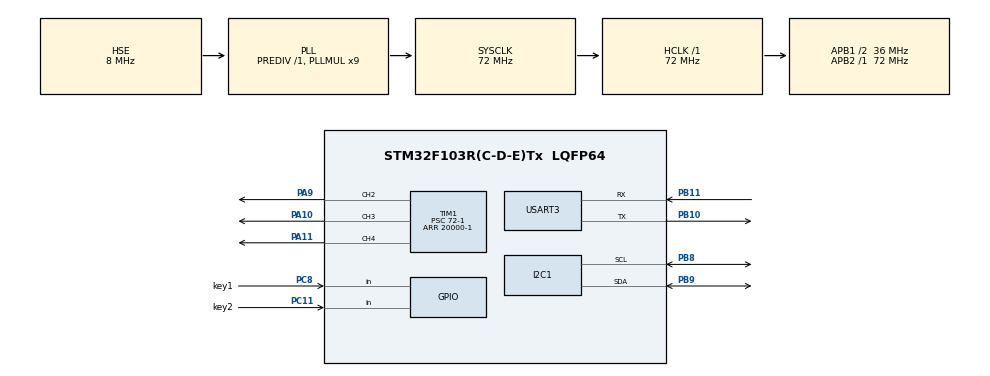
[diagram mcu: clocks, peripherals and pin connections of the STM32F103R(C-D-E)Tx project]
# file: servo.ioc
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Dma.Request0=USART3_RX
Dma.Request1=USART3_TX
Dma.USART3_RX.0.Direction=DMA_PERIPH_TO_MEMORY
Dma.USART3_RX.0.Instance=DMA1_Channel3
Dma.USART3_RX.0.MemDataAlignment=DMA_MDATAALIGN_BYTE
Dma.USART3_RX.0.MemInc=DMA_MINC_ENABLE
Dma.USART3_RX.0.Mode=DMA_NORMAL
Dma.USART3_RX.0.PeriphDataAlignment=DMA_PDATAALIGN_BYTE
Dma.USART3_RX.0.PeriphInc=DMA_PINC_DISABLE
Dma.USART3_RX.0.Priority=DMA_PRIORITY_LOW
Dma.USART3_TX.1.Direction=DMA_MEMORY_TO_PERIPH
Dma.USART3_TX.1.Instance=DMA1_Channel2
Dma.USART3_TX.1.MemDataAlignment=DMA_MDATAALIGN_BYTE
Dma.USART3_TX.1.MemInc=DMA_MINC_ENABLE
Dma.USART3_TX.1.Mode=DMA_NORMAL
Dma.USART3_TX.1.PeriphDataAlignment=DMA_PDATAALIGN_BYTE
Dma.USART3_TX.1.PeriphInc=DMA_PINC_DISABLE
Dma.USART3_TX.1.Priority=DMA_PRIORITY_LOW
I2C1.I2C_Mode=I2C_Fast
Mcu.Family=STM32F1
Mcu.Name=STM32F103R(C-D-E)Tx
Mcu.Package=LQFP64
NVIC.DMA1_Channel2_IRQn=true\:0\:0\:false\:false\:true\:false\:true\:true
NVIC.DMA1_Channel3_IRQn=true\:0\:0\:false\:false\:true\:false\:true\:true
NVIC.PriorityGroup=NVIC_PRIORITYGROUP_4
NVIC.USART3_IRQn=true\:0\:0\:false\:false\:true\:true\:true\:true
PA10.Signal=S_TIM1_CH3
PA11.Signal=S_TIM1_CH4
PA13.Mode=Serial_Wire
PA13.Signal=SYS_JTMS-SWDIO
PA14.Mode=Serial_Wire
PA14.Signal=SYS_JTCK-SWCLK
PA9.Signal=S_TIM1_CH2
PB10.Mode=Asynchronous
PB10.Signal=USART3_TX
PB11.Mode=Asynchronous
PB11.Signal=USART3_RX
PB8.Mode=I2C
PB8.Signal=I2C1_SCL
PB9.Mode=I2C
PB9.Signal=I2C1_SDA
PC11.GPIO_Label=key2
PC11.GPIO_PuPd=GPIO_PULLUP
PC11.Signal=GPIO_Input
PC8.GPIO_Label=key1
PC8.GPIO_PuPd=GPIO_PULLUP
PC8.Signal=GPIO_Input
PD0-OSC_IN.Mode=HSE-External-Oscillator
PD0-OSC_IN.Signal=RCC_OSC_IN
PD1-OSC_OUT.Mode=HSE-External-Oscillator
PD1-OSC_OUT.Signal=RCC_OSC_OUT
ProjectManager.HeapSize=0x200
ProjectManager.StackSize=0x400
ProjectManager.TargetToolchain=MDK-ARM V5.32
RCC.AHBFreq_Value=72000000
RCC.APB1CLKDivider=RCC_HCLK_DIV2
RCC.APB1Freq_Value=36000000
RCC.APB1TimFreq_Value=72000000
RCC.APB2Freq_Value=72000000
RCC.APB2TimFreq_Value=72000000
RCC.HCLKFreq_Value=72000000
RCC.PLLMUL=RCC_PLL_MUL9
RCC.PLLSourceVirtual=RCC_PLLSOURCE_HSE
RCC.SYSCLKFreq_VALUE=72000000
RCC.SYSCLKSource=RCC_SYSCLKSOURCE_PLLCLK
RCC.USBFreq_Value=72000000
SH.S_TIM1_CH2.0=TIM1_CH2,PWM Generation2 CH2
SH.S_TIM1_CH3.0=TIM1_CH3,PWM Generation3 CH3
SH.S_TIM1_CH4.0=TIM1_CH4,PWM Generation4 CH4
TIM1.Channel-PWM\ Generation2\ CH2=TIM_CHANNEL_2
TIM1.Channel-PWM\ Generation3\ CH3=TIM_CHANNEL_3
TIM1.Channel-PWM\ Generation4\ CH4=TIM_CHANNEL_4
TIM1.Period=20000-1
TIM1.Prescaler=72-1
TIM1.Pulse-PWM\ Generation2\ CH2=1400
TIM1.Pulse-PWM\ Generation3\ CH3=1500
TIM1.Pulse-PWM\ Generation4\ CH4=1500
USART3.VirtualMode=VM_ASYNC
VP_TIM1_VS_ClockSourceINT.Mode=Internal
board=custom

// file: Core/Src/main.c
/* USER CODE BEGIN Header */
/**
  ******************************************************************************
  * @file           : main.c
  * @brief          : Main program body
  ******************************************************************************
  * @attention
  *
  * Copyright (c) 2025 STMicroelectronics.
  * All rights reserved.
  *
  * This software is licensed under terms that can be found in the LICENSE file
  * in the root directory of this software component.
  * If no LICENSE file comes with this software, it is provided AS-IS.
  *
  ******************************************************************************
  */
/* USER CODE END Header */
#include "main.h"
#include "dma.h"
#include "i2c.h"
#include "tim.h"
#include "usart.h"
#include "gpio.h"

/* USER CODE BEGIN Includes */
#include "pid.h"
#include"usart recieve.h"
#include <stdbool.h>
#include "oled.h"
extern DMA_HandleTypeDef hdma_usart3_rx;
extern float Kp,Ki,Kd;
extern float out1,out2;
/* USER CODE END Includes */

/* USER CODE BEGIN PV */
char data[30];
char check[30];
int position[4];
bool flag_key1=true;
bool flag_key2=true;
int count_key2;
//float dt;
/* USER CODE END PV */

void SystemClock_Config(void);

/* USER CODE BEGIN 0 */

void HAL_UARTEx_RxEventCallback(UART_HandleTypeDef *huart, uint16_t Size){

	if(huart==&huart3)
	{ //  HAL_UART_Transmit(&huart3, (uint8_t*)data, Size,10);

	 Parse_Int_Packet(data, position);
//	  static char buffer[28];
//
//		     /* 安全格式化（限制缓冲区访问） */
//		   int len= snprintf(buffer, sizeof(buffer), "%d,%d,%.1f,%.1f\r\n", position[0]-320, position[1]-240,out1,out2);
//

		  //      HAL_UART_Transmit_DMA(&huart2, (uint8_t*)buffer, len);
		      //  HAL_UART_Transmit(&huart3, (uint8_t*)buffer, len,49);

	 pid_position_control( position[0]-304, position[1]-282,position[2],position[3]);//先发的是x后发的是y
            //  sendoutput();
		HAL_UARTEx_ReceiveToIdle_DMA(&huart3, data, sizeof(data));
		__HAL_DMA_DISABLE_IT(&hdma_usart3_rx,DMA_IT_HT);

	}

}

/* USER CODE END 0 */

int main(void)
{

  /* MCU Configuration--------------------------------------------------------*/

  /* Reset of all peripherals, Initializes the Flash interface and the Systick. */
  HAL_Init();

  /* Configure the system clock */
  SystemClock_Config();

  /* Initialize all configured peripherals */
  MX_GPIO_Init();
  MX_DMA_Init();
  MX_I2C1_Init();
  MX_TIM1_Init();
  MX_USART3_UART_Init();
  /* USER CODE BEGIN 2 */
//  HAL_Delay(20);
//  OLED_Init();
  HAL_TIM_PWM_Start(&htim1,TIM_CHANNEL_3);
  HAL_TIM_PWM_Start(&htim1,TIM_CHANNEL_2);
  HAL_TIM_PWM_Start(&htim1,TIM_CHANNEL_4);
//  HAL_UART_Receive_IT(&huart2, data, 3);
//  	  __HAL_TIM_SetCompare(&htim1, TIM_CHANNEL_3, 1530);
//  	  __HAL_TIM_SetCompare(&htim1, TIM_CHANNEL_4, 1530);
  HAL_UARTEx_ReceiveToIdle_DMA(&huart3, data, sizeof(data));
	__HAL_DMA_DISABLE_IT(&hdma_usart3_rx,DMA_IT_HT);

	//  HAL_UART_Transmit(&huart3, (uint8_t*)"aaa", 3,10);
  /* USER CODE END 2 */

  /* Infinite loop */
  /* USER CODE BEGIN WHILE */
  while (1)
  {
	  //死区调试代码起始
//	  __HAL_TIM_SetCompare(&htim1, TIM_CHANNEL_3, 1600);
//	  __HAL_TIM_SetCompare(&htim1, TIM_CHANNEL_4, 1600);
//HAL_Delay(50);
//__HAL_TIM_SetCompare(&htim1, TIM_CHANNEL_3, 1700);
//__HAL_TIM_SetCompare(&htim1, TIM_CHANNEL_4, 1700);
//HAL_Delay(50);
//__HAL_TIM_SetCompare(&htim1, TIM_CHANNEL_3, 1400);
//	  __HAL_TIM_SetCompare(&htim1, TIM_CHANNEL_4, 1400);
//	  HAL_Delay(50);
//	  __HAL_TIM_SetCompare(&htim1, TIM_CHANNEL_3, 1300);
//	  	  __HAL_TIM_SetCompare(&htim1, TIM_CHANNEL_4, 1300);
//	  	  HAL_Delay(50);
	  //死区调试代码结束
	  //HAL_GPIO_ReadPin(key1_GPIO_Port, key1_Pin);
//  if(HAL_GPIO_ReadPin(key1_GPIO_Port, key1_Pin)==GPIO_PIN_RESET&&flag_key1){
//	  flag_key1=false;
//	  if(count_key2==0){
//		  Kp+=0.2;
//	  }
//	  else if(count_key2==1){
//		  Ki+=0.1;
//	  }
//	  else if(count_key2==2){
//		  Kd+=0.02;
//	  }
//
//
//  }
//  if(HAL_GPIO_ReadPin(key2_GPIO_Port, key2_Pin)==GPIO_PIN_RESET&&flag_key2){
//	  flag_key2=false;
//	  count_key2++;
//	  if(count_key2>2)count_key2=0;
//  }
//  static char buffer22[16];
//  static char buffer23[16];
//  static char buffer24[16];
//  static char buffer25[16];
// snprintf(buffer22, sizeof(buffer22), "kp:%.2f", Kp);
// snprintf(buffer23, sizeof(buffer23), "kd:%.2f", Ki);
// snprintf(buffer24, sizeof(buffer24), "ki:%.2f", Kd);
// snprintf(buffer25, sizeof(buffer25), "count:%d", count_key2);
//OLED_NewFrame();
//OLED_PrintString(13, 0 , buffer22, &font16x16, OLED_COLOR_NORMAL);
//OLED_PrintString(13, 15 , buffer23, &font16x16, OLED_COLOR_NORMAL);
//OLED_PrintString(13, 30 , buffer24, &font16x16, OLED_COLOR_NORMAL);
//OLED_PrintString(13, 45 , buffer25, &font16x16, OLED_COLOR_NORMAL);
//
//OLED_ShowFrame();
    /* USER CODE END WHILE */

  }
}

void SystemClock_Config(void)
{
  RCC_OscInitTypeDef RCC_OscInitStruct = {0};
  RCC_ClkInitTypeDef RCC_ClkInitStruct = {0};

  /** Initializes the RCC Oscillators according to the specified parameters
  * in the RCC_OscInitTypeDef structure.
  */
  RCC_OscInitStruct.OscillatorType = RCC_OSCILLATORTYPE_HSE;
  RCC_OscInitStruct.HSEState = RCC_HSE_ON;
  RCC_OscInitStruct.HSEPredivValue = RCC_HSE_PREDIV_DIV1;
  RCC_OscInitStruct.HSIState = RCC_HSI_ON;
  RCC_OscInitStruct.PLL.PLLState = RCC_PLL_ON;
  RCC_OscInitStruct.PLL.PLLSource = RCC_PLLSOURCE_HSE;
  RCC_OscInitStruct.PLL.PLLMUL = RCC_PLL_MUL9;
  if (HAL_RCC_OscConfig(&RCC_OscInitStruct) != HAL_OK)
  {
    Error_Handler();
  }

  /** Initializes the CPU, AHB and APB buses clocks
  */
  RCC_ClkInitStruct.ClockType = RCC_CLOCKTYPE_HCLK|RCC_CLOCKTYPE_SYSCLK
                              |RCC_CLOCKTYPE_PCLK1|RCC_CLOCKTYPE_PCLK2;
  RCC_ClkInitStruct.SYSCLKSource = RCC_SYSCLKSOURCE_PLLCLK;
  RCC_ClkInitStruct.AHBCLKDivider = RCC_SYSCLK_DIV1;
  RCC_ClkInitStruct.APB1CLKDivider = RCC_HCLK_DIV2;
  RCC_ClkInitStruct.APB2CLKDivider = RCC_HCLK_DIV1;

  if (HAL_RCC_ClockConfig(&RCC_ClkInitStruct, FLASH_LATENCY_2) != HAL_OK)
  {
    Error_Handler();
  }
}

void Error_Handler(void)
{
  __disable_irq();
  while (1)
  {
  }
}
